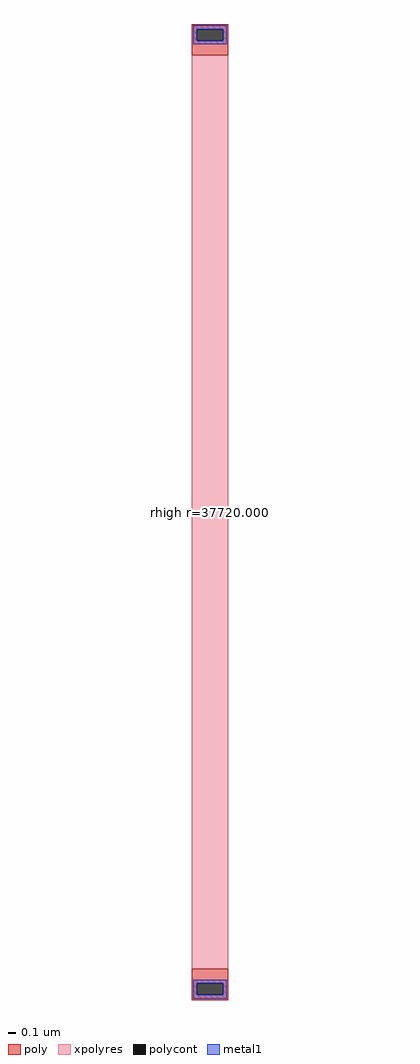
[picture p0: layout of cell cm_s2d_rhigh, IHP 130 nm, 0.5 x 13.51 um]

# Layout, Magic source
magic
tech ihp-sg13cmos5l
magscale 1 2
<< poly >>
rect 0 2602 100 2616
rect 0 2570 14 2602
rect 86 2570 100 2602
rect 0 2530 100 2570
rect 0 -40 100 0
rect 0 -72 14 -40
rect 86 -72 100 -40
rect 0 -86 100 -72
<< polycont >>
rect 14 2570 86 2602
rect 14 -72 86 -40
<< xpolyres >>
rect 0 0 100 2530
<< metal1 >>
rect 4 2602 96 2612
rect 4 2570 14 2602
rect 86 2570 96 2602
rect 4 2560 96 2570
rect 4 -40 96 -30
rect 4 -72 14 -40
rect 86 -72 96 -40
rect 4 -82 96 -72
<< labels >>
flabel comment s 50 1265 50 1265 0 FreeSans 200 90 0 0 rhigh r=37720.000
<< properties >>
string GDS_END 26160
string GDS_FILE custom_io/gds/sg13cmos5l_IOPadSingle2Diff.uniq.gds
string GDS_START 24592
string MASKHINTS_CONTBAR 14 2570 86 2602 14 -72 86 -40
<< end >>
